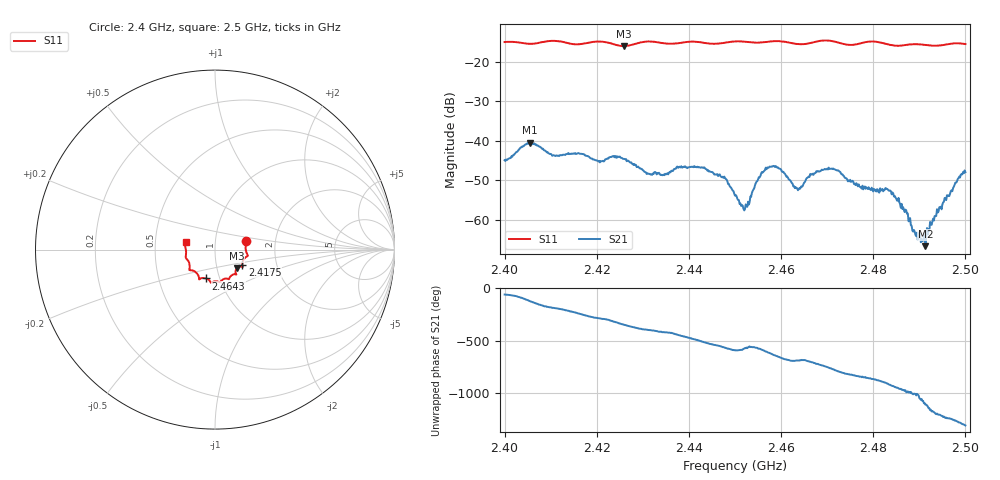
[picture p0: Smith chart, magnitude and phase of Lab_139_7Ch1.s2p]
# Hz S RI R 50
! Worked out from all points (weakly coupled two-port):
!   601 points, 2.4 GHz to 2.5 GHz, reference 50 ohm
!   highest |S21| = -40.50 dB at 2.4055 GHz (marker M1); lowest = -66.8 dB at 2.4913 GHz (marker M2)
!   lowest |S11| = -15.9 dB at 2.4258 GHz (marker M3), VSWR 1.38, Z = 62.3 - j13.2 ohm
!   |S11| at or under -10 dB: start of sweep to end of sweep
!   S12 and S22 are empty: the file has one direction only
!   S11 on the Smith chart (normalised r, x): 2.4 GHz: 1.41, +0.14; 2.4175 GHz: 1.34, -0.23; 2.4643 GHz: 0.86, -0.29; 2.5 GHz: 0.72, +0.06
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2.4e9  0.1729 0.049  0.00292 -0.00486  0 0  0 0
2.4055e9  0.1705 0.00776  -0.00506 -0.00798  0 0  0 0
2.410833e9  0.1829 -0.0348  -0.00642 0.000919  0 0  0 0
2.416667e9  0.1527 -0.074  -0.00258 0.00634  0 0  0 0
2.4175e9  0.1518 -0.0834  -0.0014 0.00633  0 0  0 0
2.425833e9  0.1219 -0.1034  0.00573 0.00138  0 0  0 0
2.433333e9  0.1132 -0.1371  0.00231 -0.00308  0 0  0 0
2.443167e9  0.0689 -0.1621  -0.004 -0.00214  0 0  0 0
2.447833e9  0.0359 -0.1728  -0.00301 0.00153  0 0  0 0
2.45e9  0.029 -0.181  -0.00128 0.00155  0 0  0 0
2.452167e9  0.0219 -0.1799  -0.00117 0.000682  0 0  0 0
2.4555e9  -0.00237 -0.1772  -0.00277 0.00226  0 0  0 0
2.458e9  -0.0188 -0.1823  -0.000254 0.00473  0 0  0 0
2.464333e9  -0.0497 -0.161  0.00221 0.00142  0 0  0 0
2.466667e9  -0.0759 -0.1594  0.00365 0.000845  0 0  0 0
2.471333e9  -0.088 -0.1615  0.00264 -0.00357  0 0  0 0
2.4775e9  -0.1312 -0.1154  -0.00156 -0.00191  0 0  0 0
2.483333e9  -0.141 -0.0902  -0.00224 0.000676  0 0  0 0
2.487e9  -0.1551 -0.0557  -0.000359 0.00129  0 0  0 0
2.489167e9  -0.1629 -0.0444  0.000215 0.000601  0 0  0 0
2.491333e9  -0.1622 -0.0316  0.000391 -0.00024  0 0  0 0
2.5e9  -0.164 0.0432  -0.00253 0.00309  0 0  0 0
